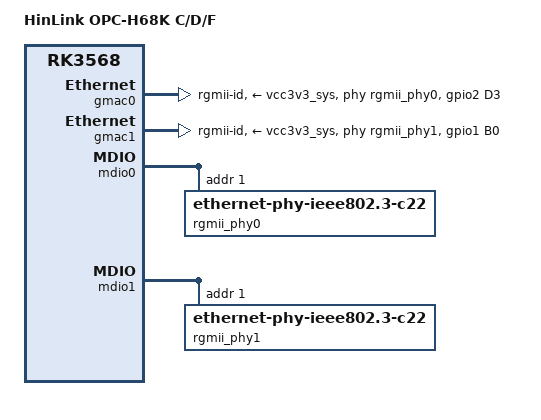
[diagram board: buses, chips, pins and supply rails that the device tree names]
// SPDX-License-Identifier: (GPL-2.0+ OR MIT)
/*
 * HinLink OPC-H68K C/D/F
 *
 * HinLink 适配for immortalwrt —— 每机型独立 DTS，不做自适应。
 *
 * 硬件事实来源：厂商 2022 R22.7.19/R22.8.22 固件 dtb（已解包反编译逐项核对）
 * 蓝本：OpenWrt 主线 rk3568-hinlink-h68k.dts
 *
 * 2022 版：2×RTL8125 2.5G + 2×千兆，无板载 WiFi
 */

/dts-v1/;

#include "rk3568-hinlink-opc.dtsi"

/ {
	model = "HinLink OPC-H68K C/D/F";
	compatible = "hinlink,opc-h68k-c", "rockchip,rk3568";

	aliases {
		ethernet0 = &gmac0;
		ethernet1 = &gmac1;
	};
};
&gmac0 {
	assigned-clocks = <&cru SCLK_GMAC0_RX_TX>, <&cru SCLK_GMAC0>;
	assigned-clock-parents = <&cru SCLK_GMAC0_RGMII_SPEED>;
	assigned-clock-rates = <0>, <125000000>;
	clock_in_out = "output";
	phy-mode = "rgmii-id";
	phy-supply = <&vcc3v3_sys>;
	pinctrl-names = "default";
	pinctrl-0 = <&gmac0_miim
		     &gmac0_tx_bus2
		     &gmac0_rx_bus2
		     &gmac0_rgmii_clk
		     &gmac0_rgmii_bus
		     &gmac0_rstn>;
	snps,reset-gpios = <&gpio2 RK_PD3 GPIO_ACTIVE_LOW>;
	snps,reset-active-low;
	snps,reset-delays-us = <0 20000 100000>;
	tx_delay = <0x3c>;
	rx_delay = <0x2f>;
	phy-handle = <&rgmii_phy0>;
	status = "okay";
};

&gmac1 {
	assigned-clocks = <&cru SCLK_GMAC1_RX_TX>, <&cru SCLK_GMAC1>;
	assigned-clock-parents = <&cru SCLK_GMAC1_RGMII_SPEED>;
	assigned-clock-rates = <0>, <125000000>;
	clock_in_out = "output";
	phy-mode = "rgmii-id";
	phy-supply = <&vcc3v3_sys>;
	pinctrl-names = "default";
	pinctrl-0 = <&gmac1m1_miim
		     &gmac1m1_tx_bus2
		     &gmac1m1_rx_bus2
		     &gmac1m1_rgmii_clk
		     &gmac1m1_rgmii_bus
		     &gmac1_rstn>;
	snps,reset-gpios = <&gpio1 RK_PB0 GPIO_ACTIVE_LOW>;
	snps,reset-active-low;
	snps,reset-delays-us = <0 20000 100000>;
	tx_delay = <0x4f>;
	rx_delay = <0x26>;
	phy-handle = <&rgmii_phy1>;
	status = "okay";
};

&mdio0 {
	rgmii_phy0: ethernet-phy@1 {
		compatible = "ethernet-phy-ieee802.3-c22";
		reg = <0x1>;
	};
};

&mdio1 {
	rgmii_phy1: ethernet-phy@1 {
		compatible = "ethernet-phy-ieee802.3-c22";
		reg = <0x1>;
	};
};

&pinctrl {
	gmac {
		gmac0_rstn: gmac0-rstn {
			rockchip,pins = <2 RK_PD3 RK_FUNC_GPIO &pcfg_pull_none>;
		};

		gmac1_rstn: gmac1-rstn {
			rockchip,pins = <1 RK_PB0 RK_FUNC_GPIO &pcfg_pull_none>;
		};
	};
};
